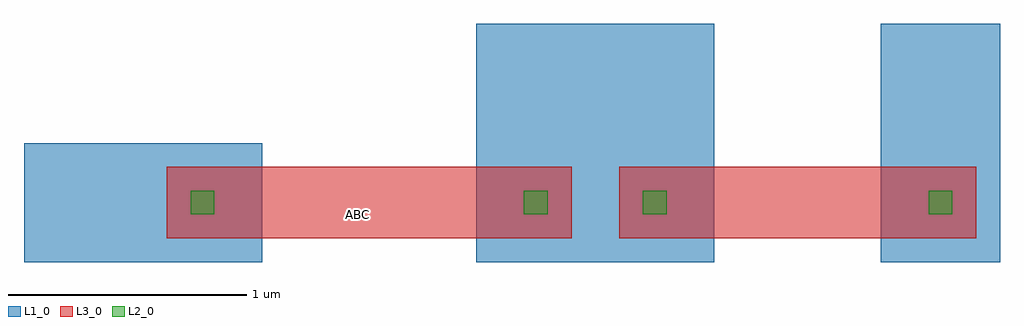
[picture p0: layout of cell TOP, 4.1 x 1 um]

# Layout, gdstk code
import gdstk
lib = gdstk.Library(unit=1e-6, precision=1e-09)
def R(c, l, rs):  # rectangles x0, y0, x1, y1
    for r in rs: c.add(gdstk.rectangle(r[:2], r[2:], *l))
L1_0 = (1, 0)
L2_0 = (2, 0)
L3_0 = (3, 0)

top = lib.new_cell('TOP')
R(top, L1_0, [(-1.9,0,-0.9,0.5), (0,0,0.5,1), (0.5,0,1,1), (1.7,0,2.2,1)])
R(top, L2_0, [(-1.2,0.2,-1.1,0.3), (0.2,0.2,0.3,0.3), (0.7,0.2,0.8,0.3), (1.9,0.2,2,0.3)])
R(top, L3_0, [(-1.3,0.1,-1,0.4), (-1,0.1,0.4,0.4), (0.1,0.1,0.4,0.4), (0.6,0.1,0.9,0.4), (0.6,0.1,1.8,0.4), (1.8,0.1,2.1,0.4)])
top.add(gdstk.Label('ABC', (-0.5,0.2), layer=3, texttype=0))

lib.write_gds('TOP.gds')
